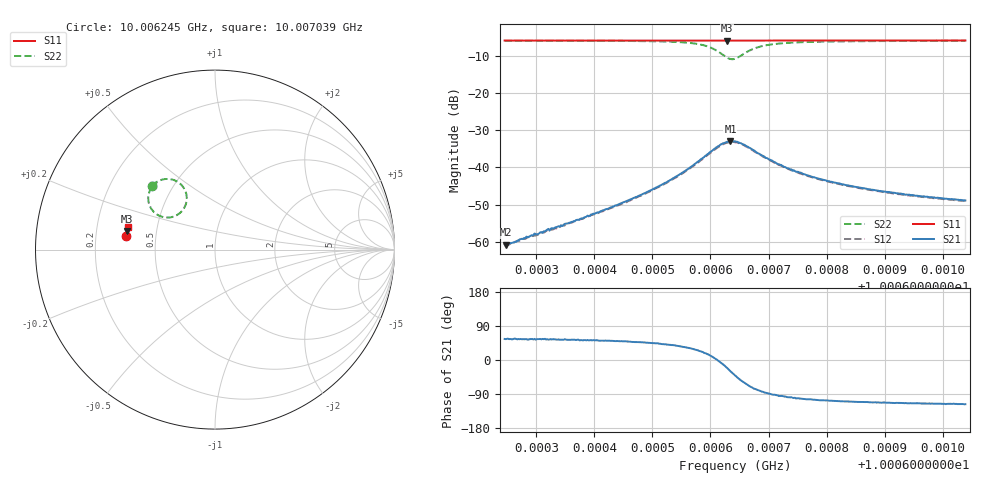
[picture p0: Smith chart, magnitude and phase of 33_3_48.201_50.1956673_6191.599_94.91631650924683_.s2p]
#  HZ  S  RI  R  50.00
! Rohde & Schwarz Vector Network Analyzer
! Rohde-Schwarz,ZNB20-2Port,1311601062101988,3.16
! Created: UTC 3/20/2024, 11:37:33 AM
! freq[Hz]  re:S11  im:S11  re:S21  im:S21  re:S12  im:S12  re:S22  im:S22
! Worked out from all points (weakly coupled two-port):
!   401 points, 10.006245 GHz to 10.007039 GHz, reference 50 ohm
!   highest |S21| = -32.91 dB at 10.006634 GHz (marker M1); lowest = -60.8 dB at 10.006247 GHz (marker M2)
!   lowest |S11| = -6.0 dB at 10.006628 GHz (marker M3), VSWR 3.00, Z = 16.8 + j4.6 ohm
!   |S11| at or under -10 dB: nowhere
!   |S22| runs from -11.0 to -6.0 dB; largest |S21 - S12| = 0.0017
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1.00062451e10  -0.496 0.0782  0.000526 0.000765  0.000444 0.000759  -0.3515 0.3551
1.00062471e10  -0.496 0.0782  0.000526 0.000751  0.000442 0.000772  -0.3515 0.3553
1.0006261e10  -0.4958 0.0793  0.000553 0.000818  0.000507 0.000838  -0.3503 0.3565
1.00063781e10  -0.4947 0.0868  0.00126 0.00164  0.00117 0.00167  -0.3367 0.3684
1.00064536e10  -0.4939 0.0919  0.00228 0.00264  0.00211 0.00266  -0.3212 0.3787
1.00065112e10  -0.4931 0.0957  0.00409 0.00383  0.00382 0.00395  -0.2989 0.3886
1.00065509e10  -0.4925 0.0983  0.0069 0.00487  0.00649 0.00504  -0.2682 0.3937
1.00065866e10  -0.4916 0.1008  0.0125 0.00483  0.012 0.00517  -0.2144 0.3811
1.00066065e10  -0.4907 0.1018  0.0176 0.00168  0.0169 0.00252  -0.1732 0.3422
1.00066184e10  -0.4902 0.1023  0.0203 -0.00274  0.0197 -0.00173  -0.1576 0.2961
1.00066283e10  -0.4898 0.1025  0.0206 -0.00777  0.0204 -0.00642  -0.1643 0.2475
1.00066343e10  -0.4899 0.1025  0.0196 -0.0112  0.0196 -0.00954  -0.1799 0.2199
1.00066422e10  -0.49 0.1027  0.0169 -0.0146  0.0173 -0.0132  -0.2118 0.1925
1.00066522e10  -0.4904 0.103  0.0125 -0.017  0.0132 -0.0159  -0.2583 0.1786
1.00066661e10  -0.4906 0.1035  0.00687 -0.0172  0.00769 -0.0165  -0.312 0.1893
1.00066919e10  -0.491 0.1054  0.0012 -0.0141  0.00199 -0.0136  -0.3586 0.2336
1.00067296e10  -0.4909 0.1081  -0.00113 -0.00997  -0.00078 -0.00984  -0.372 0.2797
1.00067753e10  -0.4905 0.1112  -0.00183 -0.00724  -0.00147 -0.0072  -0.3697 0.3088
1.00068309e10  -0.4898 0.115  -0.00194 -0.00555  -0.00161 -0.00552  -0.3639 0.3279
1.00069083e10  -0.4889 0.1199  -0.00181 -0.00431  -0.00158 -0.00428  -0.3561 0.3434
1.00069619e10  -0.488 0.1235  -0.00171 -0.00375  -0.00152 -0.00375  -0.3515 0.3505
1.00070394e10  -0.487 0.1284  -0.00161 -0.00322  -0.00144 -0.00325  -0.3456 0.3586
